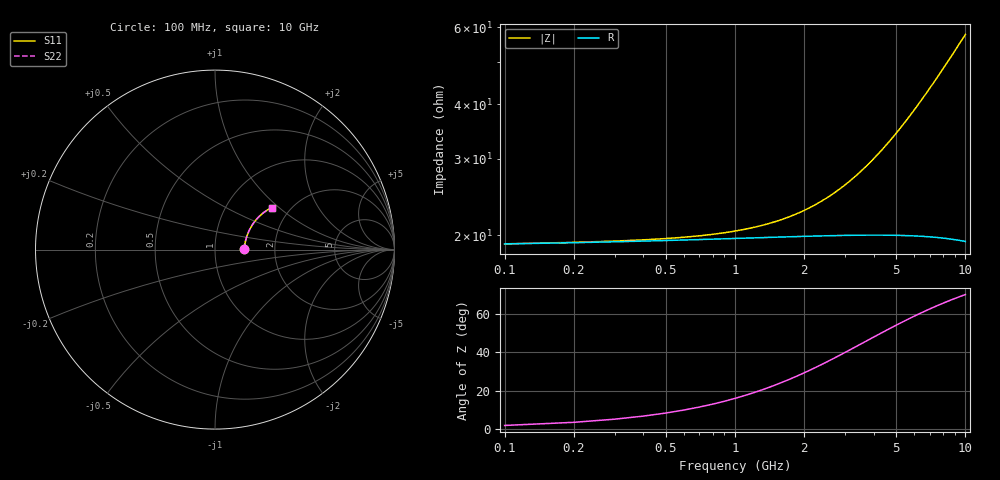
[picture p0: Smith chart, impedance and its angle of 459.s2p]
# Hz S RI R 50.00
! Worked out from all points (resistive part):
!   100 points, 100 MHz to 10 GHz, reference 50 ohm
!   read as one part in series: R = 19.1 ohm at 100 MHz
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1e8  0.1606 0.00311  0.8394 -0.00475  0.8394 -0.00475  0.1606 0.00311
2e8  0.1615 0.0062  0.8385 -0.00947  0.8385 -0.00947  0.1615 0.0062
7e8  0.1646 0.0215  0.8353 -0.033  0.8353 -0.033  0.1646 0.0215
1e9  0.1663 0.0306  0.8335 -0.047  0.8335 -0.047  0.1663 0.0306
1.4e9  0.1688 0.0426  0.8309 -0.0656  0.8309 -0.0656  0.1688 0.0426
1.8e9  0.1717 0.0545  0.8278 -0.084  0.8278 -0.084  0.1717 0.0545
2.1e9  0.1742 0.0633  0.8252 -0.0978  0.8252 -0.0978  0.1742 0.0633
2.5e9  0.1778 0.0749  0.8212 -0.1159  0.8212 -0.1159  0.1778 0.0749
2.9e9  0.1819 0.0863  0.8168 -0.1338  0.8168 -0.1338  0.1819 0.0863
3.4e9  0.1877 0.1002  0.8106 -0.156  0.8106 -0.156  0.1877 0.1002
4.2e9  0.1983 0.1216  0.7991 -0.1905  0.7991 -0.1905  0.1983 0.1216
4.6e9  0.2042 0.1318  0.7927 -0.2073  0.7927 -0.2073  0.2042 0.1318
5.1e9  0.2122 0.1442  0.784 -0.228  0.784 -0.228  0.2122 0.1442
5.9e9  0.2262 0.1629  0.7687 -0.2598  0.7687 -0.2598  0.2262 0.1629
6.3e9  0.2337 0.1716  0.7604 -0.2752  0.7604 -0.2752  0.2337 0.1716
6.7e9  0.2416 0.18  0.7518 -0.2902  0.7518 -0.2902  0.2416 0.18
7.1e9  0.2497 0.188  0.7429 -0.3049  0.7429 -0.3049  0.2497 0.188
7.5e9  0.2581 0.1956  0.7336 -0.3191  0.7336 -0.3191  0.2581 0.1956
7.9e9  0.2668 0.2028  0.724 -0.3329  0.724 -0.3329  0.2668 0.2028
8.4e9  0.2779 0.2111  0.7116 -0.3496  0.7116 -0.3496  0.2779 0.2111
9.2e9  0.2964 0.2232  0.6911 -0.375  0.6911 -0.375  0.2964 0.2232
1e10  0.3154 0.2334  0.6697 -0.3987  0.6697 -0.3987  0.3154 0.2334
